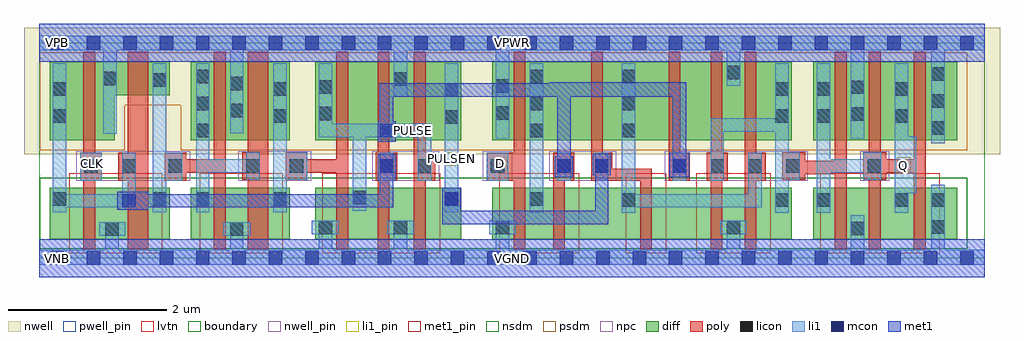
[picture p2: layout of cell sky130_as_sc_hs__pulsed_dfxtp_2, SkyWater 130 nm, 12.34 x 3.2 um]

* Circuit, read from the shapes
.subckt sky130_as_sc_hs__pulsed_dfxtp_2 CLK D PULSE PULSEN Q VGND VNB VPB VPWR
XM1 VGND CLK n1 VNB sky130_fd_pr__nfet_01v8_lvt w=0.65 l=0.15
XM2 n2 n1 VGND VNB sky130_fd_pr__nfet_01v8_lvt w=0.65 l=0.26
XM3 VGND n2 n3 VNB sky130_fd_pr__nfet_01v8_lvt w=0.65 l=0.15
XM4 n4 n3 VGND VNB sky130_fd_pr__nfet_01v8_lvt w=0.65 l=0.26
XM5 PULSE n4 VGND VNB sky130_fd_pr__nfet_01v8_lvt w=0.65 l=0.15
XM6 VGND n1 PULSE VNB sky130_fd_pr__nfet_01v8_lvt w=0.65 l=0.15
XM7 PULSEN PULSE VGND VNB sky130_fd_pr__nfet_01v8_lvt w=0.65 l=0.15
XM8 n5 D VGND VNB sky130_fd_pr__nfet_01v8_lvt w=0.65 l=0.15
XM9 n6 PULSE n5 VNB sky130_fd_pr__nfet_01v8_lvt w=0.65 l=0.15
XM10 n7 PULSEN n6 VNB sky130_fd_pr__nfet_01v8_lvt w=0.65 l=0.15
XM11 VGND n8 n7 VNB sky130_fd_pr__nfet_01v8_lvt w=0.65 l=0.15
XM12 n8 n6 VGND VNB sky130_fd_pr__nfet_01v8_lvt w=0.65 l=0.15
XM13 VGND n8 n9 VNB sky130_fd_pr__nfet_01v8_lvt w=0.65 l=0.15
XM14 Q n9 VGND VNB sky130_fd_pr__nfet_01v8_lvt w=0.65 l=0.15 m=2
XM15 VPWR CLK n1 VPB sky130_fd_pr__pfet_01v8 w=0.99 l=0.15
XM16 n2 n1 VPWR VPB sky130_fd_pr__pfet_01v8 w=0.42 l=0.26
XM17 VPWR n2 n3 VPB sky130_fd_pr__pfet_01v8 w=0.99 l=0.15
XM18 n4 n3 VPWR VPB sky130_fd_pr__pfet_01v8 w=0.99 l=0.26
XM19 n10 n4 PULSE VPB sky130_fd_pr__pfet_01v8 w=0.99 l=0.15
XM20 VPWR n1 n10 VPB sky130_fd_pr__pfet_01v8 w=0.99 l=0.15
XM21 PULSEN PULSE VPWR VPB sky130_fd_pr__pfet_01v8 w=0.99 l=0.15
XM22 n5 D VPWR VPB sky130_fd_pr__pfet_01v8 w=0.99 l=0.15
XM23 n6 PULSEN n5 VPB sky130_fd_pr__pfet_01v8 w=0.99 l=0.15
XM24 n11 PULSE n6 VPB sky130_fd_pr__pfet_01v8 w=0.99 l=0.15
XM25 VPWR n8 n11 VPB sky130_fd_pr__pfet_01v8 w=0.99 l=0.15
XM26 n8 n6 VPWR VPB sky130_fd_pr__pfet_01v8 w=0.99 l=0.15
XM27 VPWR n8 n9 VPB sky130_fd_pr__pfet_01v8 w=0.99 l=0.15
XM28 Q n9 VPWR VPB sky130_fd_pr__pfet_01v8 w=0.99 l=0.15 m=2
.ends

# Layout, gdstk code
import gdstk
lib = gdstk.Library(unit=1e-6, precision=1e-09)
def R(c, l, rs):  # rectangles x0, y0, x1, y1
    for r in rs: c.add(gdstk.rectangle(r[:2], r[2:], *l))
def A(c, l, x, y, w, h, nx, ny, dx, dy):  # array of equal rectangles
    R(c, l, [(x+i*dx, y+j*dy, x+i*dx+w, y+j*dy+h) for i in range(nx) for j in range(ny)])
nwell_pin = (64, 16)
nwell = (64, 20)
diff = (65, 20)
poly = (66, 20)
licon = (66, 44)
li1_pin = (67, 16)
li1 = (67, 20)
mcon = (67, 44)
met1_pin = (68, 16)
met1 = (68, 20)
nsdm = (93, 44)
psdm = (94, 20)
npc = (95, 20)
pwell_pin = (122, 16)
lvtn = (125, 44)
boundary = (235, 4)

sky130_as_sc_hs__pulsed_ = lib.new_cell('sky130_as_sc_hs__pulsed_dfxtp_2')
R(sky130_as_sc_hs__pulsed_, nwell_pin, [(0.145,2.635,0.315,2.805)])
R(sky130_as_sc_hs__pulsed_, nwell, [(-0.19,1.31,12.15,2.91)])
R(sky130_as_sc_hs__pulsed_, diff, [(0.135,0.24,1.65,0.89), (1.92,0.24,3.17,0.89), (3.49,0.24,5.34,0.89), (5.73,0.24,9.52,0.89), (9.79,0.24,11.61,0.89), (0.135,1.49,0.96,2.06), (1.92,1.49,3.17,2.48), (3.49,1.49,5.34,2.48), (5.73,1.49,9.52,2.48), (9.79,1.49,11.61,2.48), (0.135,2.06,1.65,2.48)])
A(sky130_as_sc_hs__pulsed_, poly, 7.96, 0.98, 0.27, 0.35, 3, 1, 0.48, 0)
A(sky130_as_sc_hs__pulsed_, poly, 6, 1.33, 0.15, 1.28, 3, 1, 0.98, 0)
R(sky130_as_sc_hs__pulsed_, poly, [(0.56,0.11,0.71,0.98), (1.12,0.11,1.38,0.98), (2.21,0.11,2.36,1.08), (2.64,0.11,2.9,0.99), (3.76,0.11,3.91,1.08), (4.28,0.11,4.43,0.98), (4.74,0.11,4.89,0.98), (6,0.11,6.15,0.98), (6.5,0.11,6.65,0.98), (7.6,0.11,7.75,0.98), (8.49,0.11,8.64,0.98), (8.92,0.11,9.07,0.98), (10.06,0.11,10.21,1.06), (10.49,0.11,10.64,0.99), (11.06,0.11,11.21,1.08), (0.52,0.98,0.79,1.33), (1,0.98,1.38,1.33), (1.59,0.98,1.86,1.08), (4.26,0.98,4.53,1.33), (4.74,0.98,5.01,1.33), (5.66,0.98,6.15,1.33), (6.5,0.98,6.77,1.33), (6.98,0.98,7.75,1.13), (2.57,0.99,2.9,1.34), (3.12,0.99,3.39,1.08), (9.4,0.99,9.69,1.06), (10.42,0.99,10.71,1.08), (9.4,1.06,10.21,1.23), (1.59,1.08,2.36,1.25), (3.12,1.08,3.91,1.25), (10.42,1.08,11.21,1.25), (6.98,1.13,7.25,1.33), (9.4,1.23,9.69,1.34), (10.06,1.23,10.21,2.61), (1.59,1.25,1.86,1.33), (2.21,1.25,2.36,2.61), (3.12,1.25,3.39,1.34), (3.76,1.25,3.91,2.61), (10.42,1.25,10.71,1.34), (11.06,1.25,11.21,2.61), (0.56,1.33,0.71,2.61), (1.12,1.33,1.38,2.61), (4.28,1.33,4.43,2.61), (4.74,1.33,4.89,2.61), (8.49,1.33,8.64,2.61), (8.92,1.33,9.07,2.61), (2.64,1.34,2.9,2.61), (10.49,1.34,10.64,2.61)])
A(sky130_as_sc_hs__pulsed_, licon, 8.01, 1.08, 0.17, 0.17, 4, 1, 0.48, 0)
A(sky130_as_sc_hs__pulsed_, licon, 1.985, 1.53, 0.17, 0.17, 1, 3, 0, 0.34)
A(sky130_as_sc_hs__pulsed_, licon, 6.205, 1.53, 0.17, 0.17, 1, 3, 0, 0.34)
A(sky130_as_sc_hs__pulsed_, licon, 7.37, 1.53, 0.17, 0.17, 1, 3, 0, 0.34)
A(sky130_as_sc_hs__pulsed_, licon, 11.28, 1.56, 0.17, 0.17, 1, 3, 0, 0.34)
R(sky130_as_sc_hs__pulsed_, licon, [(0.84,0.28,1.01,0.45), (2.415,0.28,2.585,0.45), (10.265,0.29,10.435,0.46), (3.535,0.3,3.705,0.47), (4.485,0.3,4.655,0.47), (5.775,0.3,5.945,0.47), (8.695,0.3,8.865,0.47), (11.28,0.31,11.45,0.48), (7.37,0.65,7.54,0.82), (9.31,0.65,9.48,0.82), (9.835,0.65,10.005,0.82), (10.82,0.65,10.99,0.82), (11.28,0.65,11.45,0.82), (0.175,0.66,0.345,0.83), (1.44,0.66,1.61,0.83), (1.985,0.66,2.155,0.83), (2.96,0.66,3.13,0.83), (5.13,0.66,5.3,0.83), (6.205,0.66,6.375,0.83), (3.965,0.68,4.135,0.85), (0.57,1.08,0.74,1.25), (1.05,1.08,1.22,1.25), (1.64,1.08,1.81,1.25), (2.62,1.08,2.79,1.25), (3.17,1.08,3.34,1.25), (4.31,1.08,4.48,1.25), (4.79,1.08,4.96,1.25), (5.71,1.08,5.88,1.25), (6.55,1.08,6.72,1.25), (7.03,1.08,7.2,1.25), (10.48,1.08,10.65,1.25), (5.13,1.7,5.3,1.87), (0.175,1.71,0.345,1.88), (2.96,1.71,3.13,1.88), (9.31,1.71,9.48,1.88), (9.835,1.71,10.005,1.88), (10.82,1.71,10.99,1.88), (10.265,1.735,10.435,1.905), (3.535,1.74,3.705,1.91), (5.775,1.75,5.945,1.92), (2.415,1.78,2.585,1.95), (5.13,2.04,5.3,2.21), (0.175,2.05,0.345,2.22), (2.96,2.05,3.13,2.22), (9.31,2.05,9.48,2.22), (9.835,2.05,10.005,2.22), (10.82,2.05,10.99,2.22), (10.265,2.075,10.435,2.245), (3.535,2.08,3.705,2.25), (5.775,2.09,5.945,2.26), (2.415,2.12,2.585,2.29), (1.44,2.165,1.61,2.335), (4.485,2.18,4.655,2.35), (0.81,2.185,0.98,2.355), (8.695,2.26,8.865,2.43)])
R(sky130_as_sc_hs__pulsed_, li1_pin, [(0.595,1.105,0.765,1.275), (5.75,1.105,5.92,1.275), (10.85,1.105,11.02,1.275), (5.13,1.17,5.3,1.34), (4.65,1.53,4.82,1.7)])
R(sky130_as_sc_hs__pulsed_, li1, [(0,-0.085,11.96,0.105), (0.84,0.105,1.01,0.28), (2.415,0.105,2.585,0.28), (3.535,0.105,3.705,0.3), (4.485,0.105,4.655,0.3), (5.775,0.105,5.945,0.3), (8.695,0.105,8.865,0.3), (10.265,0.105,10.435,0.54), (11.28,0.105,11.45,0.93), (0.76,0.28,1.09,0.45), (2.33,0.28,2.67,0.45), (3.45,0.3,3.79,0.47), (4.4,0.3,4.74,0.47), (5.69,0.3,6.03,0.47), (8.61,0.3,8.95,0.47), (6.205,0.57,6.375,2.46), (7.37,0.57,7.54,0.64), (9.31,0.57,9.48,0.99), (9.835,0.57,10.005,1.08), (10.82,0.57,10.99,0.82), (0.175,0.58,0.345,0.64), (1.44,0.58,1.61,0.98), (1.985,0.58,2.155,1.08), (2.96,0.58,3.13,0.99), (5.13,0.58,5.3,2.46), (3.965,0.6,4.135,1.53), (0.175,0.64,1.22,0.81), (7.37,0.64,9.14,0.81), (0.175,0.81,0.345,2.46), (1.05,0.81,1.22,1.33), (7.37,0.81,7.54,2.46), (8.97,0.81,9.14,1.33), (10.82,0.82,11.09,1.54), (0.52,0.98,0.79,1.33), (1.44,0.98,1.81,1.33), (4.31,0.98,4.48,1.33), (4.79,0.98,4.96,1.53), (5.66,0.98,5.93,1.33), (6.55,0.98,6.72,1.33), (7.03,0.98,7.2,1.33), (8.01,0.98,8.18,1.33), (8.49,0.98,8.66,1.6), (2.62,0.99,2.79,1.08), (2.96,0.99,3.39,1.34), (9.31,0.99,9.62,1.34), (10.42,0.99,10.65,1.08), (1.985,1.08,2.79,1.25), (9.835,1.08,10.65,1.25), (1.985,1.25,2.155,2.46), (2.62,1.25,2.79,1.34), (9.835,1.25,10.005,2.46), (10.42,1.25,10.65,1.34), (1.44,1.33,1.61,2.46), (2.96,1.34,3.13,2.46), (9.31,1.34,9.48,1.6), (11.28,1.45,11.45,2.63), (5.775,1.51,5.945,2.63), (10.265,1.51,10.435,2.63), (3.535,1.53,4.96,1.7), (10.82,1.54,10.99,2.46), (0.81,1.57,0.98,2.63), (2.415,1.58,2.585,2.63), (8.49,1.6,9.48,1.77), (3.535,1.7,3.705,2.46), (9.31,1.77,9.48,2.46), (4.485,2.04,4.655,2.63), (8.695,2.18,8.865,2.63), (0,2.63,11.96,2.81)])
A(sky130_as_sc_hs__pulsed_, mcon, 0.145, -0.085, 0.17, 0.17, 26, 2, 0.46, 2.72)
R(sky130_as_sc_hs__pulsed_, mcon, [(1.05,0.64,1.22,0.81), (5.13,0.66,5.3,0.83), (4.31,1.08,4.48,1.25), (6.55,1.08,6.72,1.25), (7.03,1.08,7.2,1.25), (8.01,1.08,8.18,1.25), (4.31,1.53,4.48,1.7)])
R(sky130_as_sc_hs__pulsed_, met1_pin, [(0,-0.24,11.96,0.24), (0.145,-0.085,0.315,0.085), (0,2.48,11.96,2.96), (0.145,2.635,0.315,2.805)])
R(sky130_as_sc_hs__pulsed_, met1, [(0,-0.24,11.96,0.24), (5.1,0.43,7.2,0.6), (5.1,0.6,5.33,0.89), (7.03,0.6,7.2,1.05), (0.99,0.61,1.38,0.64), (0.99,0.64,4.48,0.81), (0.99,0.81,1.38,0.84), (4.31,0.81,4.48,0.98), (4.28,0.98,4.51,1.31), (6.52,1.02,6.75,1.29), (7.97,1.02,8.22,1.33), (7,1.05,7.23,1.32), (6.55,1.29,6.72,2.04), (8.01,1.33,8.18,2.04), (4.28,1.47,4.51,1.73), (4.31,1.73,4.48,2.04), (4.31,2.04,8.18,2.21), (6.45,2.21,8.18,2.22), (0,2.48,11.96,2.96)])
R(sky130_as_sc_hs__pulsed_, nsdm, [(0.01,0.115,11.735,1.015)])
R(sky130_as_sc_hs__pulsed_, psdm, [(0.01,1.365,1.085,1.935), (1.795,1.365,11.735,1.935), (0.01,1.935,11.735,2.605)])
R(sky130_as_sc_hs__pulsed_, npc, [(0.47,0.98,1.91,1.35), (2.52,0.98,3.44,1.35), (4.21,0.98,5.06,1.35), (5.61,0.98,5.98,1.35), (6.45,0.98,7.3,1.35), (7.91,0.98,9.72,1.35), (10.38,0.98,10.75,1.35)])
R(sky130_as_sc_hs__pulsed_, pwell_pin, [(0.145,-0.085,0.315,0.085)])
R(sky130_as_sc_hs__pulsed_, lvtn, [(0.38,0.06,1.56,1.07), (2.03,0.06,3.08,1.07), (3.58,0.06,5.07,1.07), (5.82,0.06,6.83,1.07), (7.42,0.06,7.93,1.07), (8.31,0.06,9.25,1.07), (9.88,0.06,11.39,1.07)])
R(sky130_as_sc_hs__pulsed_, boundary, [(0,0,11.96,2.72)])
sky130_as_sc_hs__pulsed_.add(gdstk.Label('VNB', (0.23,0), layer=64, texttype=59))
sky130_as_sc_hs__pulsed_.add(gdstk.Label('VNB', (0.23,0), layer=64, texttype=59))
sky130_as_sc_hs__pulsed_.add(gdstk.Label('VPB', (0.23,2.72), layer=64, texttype=5))
sky130_as_sc_hs__pulsed_.add(gdstk.Label('VPB', (0.23,2.72), layer=64, texttype=5))
sky130_as_sc_hs__pulsed_.add(gdstk.Label('CLK', (0.68,1.19), layer=67, texttype=5))
sky130_as_sc_hs__pulsed_.add(gdstk.Label('D', (5.835,1.19), layer=67, texttype=5))
sky130_as_sc_hs__pulsed_.add(gdstk.Label('Q', (10.925,1.165), layer=67, texttype=5))
sky130_as_sc_hs__pulsed_.add(gdstk.Label('CLK', (0.68,1.19), layer=67, texttype=5))
sky130_as_sc_hs__pulsed_.add(gdstk.Label('D', (5.835,1.19), layer=67, texttype=5))
sky130_as_sc_hs__pulsed_.add(gdstk.Label('Q', (10.935,1.19), layer=67, texttype=5))
sky130_as_sc_hs__pulsed_.add(gdstk.Label('PULSE', (4.735,1.615), layer=67, texttype=5))
sky130_as_sc_hs__pulsed_.add(gdstk.Label('PULSEN', (5.215,1.255), layer=67, texttype=5))
sky130_as_sc_hs__pulsed_.add(gdstk.Label('VPWR', (5.98,2.72), layer=68, texttype=5))
sky130_as_sc_hs__pulsed_.add(gdstk.Label('VPWR', (0.23,2.72), layer=68, texttype=5))
sky130_as_sc_hs__pulsed_.add(gdstk.Label('VGND', (5.98,0), layer=68, texttype=5))
sky130_as_sc_hs__pulsed_.add(gdstk.Label('VGND', (0.23,0), layer=68, texttype=5))

lib.write_gds('sky130_as_sc_hs__pulsed_dfxtp_2.gds')
